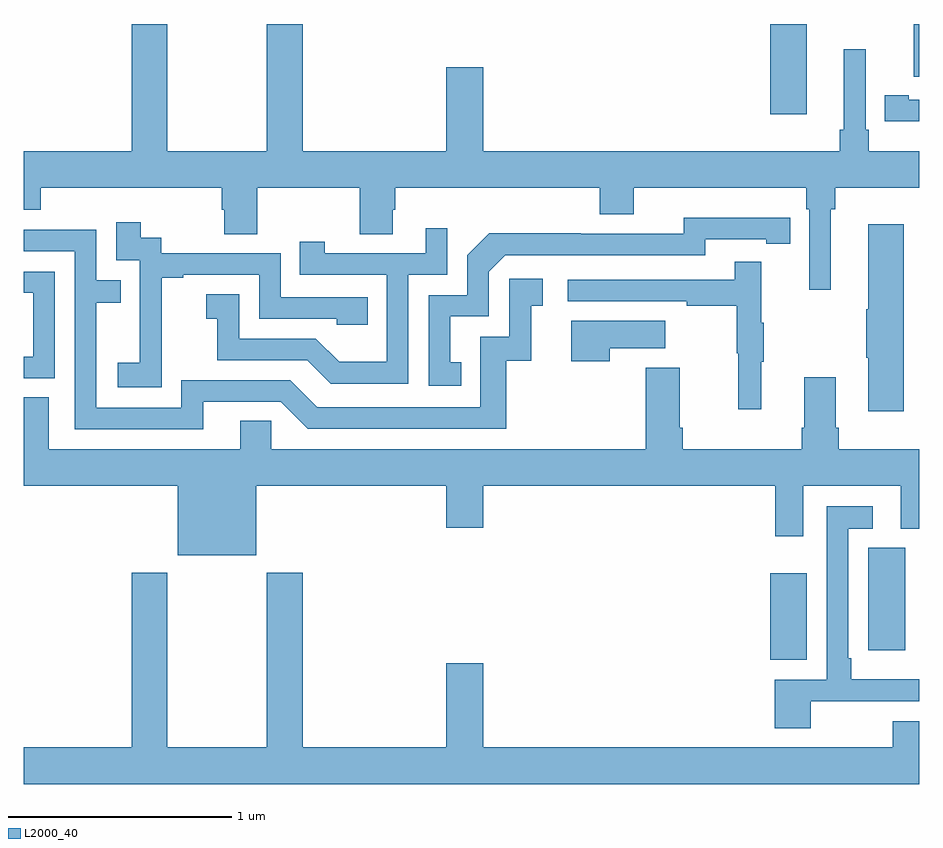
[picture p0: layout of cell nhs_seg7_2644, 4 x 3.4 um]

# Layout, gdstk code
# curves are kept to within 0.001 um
import gdstk
lib = gdstk.Library(unit=1e-6, precision=1e-09)
def R(c, l, rs):  # rectangles x0, y0, x1, y1
    for r in rs: c.add(gdstk.rectangle(r[:2], r[2:], *l))
def P(c, l, *ps):  # polygons
    for p in ps: c.add(gdstk.Polygon(p, *l))
L2000_40 = (2000, 40)

nhs_seg7_2644 = lib.new_cell('nhs_seg7_2644')
R(nhs_seg7_2644, L2000_40, [(286.334,1013.159,286.498,1013.545), (286.772,1013.202,286.939,1013.659), (286.334,1015.596,286.498,1016), (286.976,1015.764,287,1016)])
P(nhs_seg7_2644, L2000_40, [(286.606,1015.172),(286.625,1015.172),(286.625,1015.268),(287,1015.268),(287,1015.432),(286.775,1015.432),(286.775,1015.528),(286.761,1015.528),(286.761,1015.888),(286.664,1015.888),(286.664,1015.528),(286.645,1015.528),(286.645,1015.432),(285.052,1015.432),(285.052,1015.807),(284.888,1015.807),(284.888,1015.432),(284.246,1015.432),(284.246,1016),(284.086,1016),(284.086,1015.432),(283.641,1015.432),(283.641,1016),(283.481,1016),(283.481,1015.432),(283,1015.432),(283,1015.169),(283.076,1015.169),(283.076,1015.268),(283.883,1015.268),(283.883,1015.17),(283.895,1015.17),(283.895,1015.06),(284.043,1015.06),(284.043,1015.268),(284.5,1015.268),(284.5,1015.06),(284.647,1015.06),(284.647,1015.17),(284.66,1015.17),(284.66,1015.268),(285.572,1015.268),(285.572,1015.151),(285.724,1015.151),(285.724,1015.268),(286.496,1015.268),(286.496,1015.172),(286.509,1015.172),(286.509,1014.813),(286.606,1014.813)],
  [(287,1015.662),(286.954,1015.662),(286.954,1015.682),(286.846,1015.682),(286.846,1015.566),(286.954,1015.566),(286.954,1015.565),(287,1015.565)],
  [(284.954,1014.489),(284.905,1014.489),(284.905,1014.693),(285.078,1014.693),(285.078,1014.894),(285.15,1014.966),(286.044,1014.966),(286.044,1015.038),(286.316,1015.038),(286.316,1015.018),(286.424,1015.018),(286.424,1015.134),(285.948,1015.135),(285.948,1015.062),(285.488,1015.062),(285.488,1015.064),(285.08,1015.064),(284.982,1014.966),(284.982,1014.789),(284.808,1014.789),(284.808,1014.384),(284.954,1014.384)],
  [(283.617,1014.583),(283.616,1014.583),(283.616,1014.867),(283.711,1014.867),(283.711,1014.879),(284.052,1014.879),(284.052,1014.684),(284.397,1014.684),(284.397,1014.657),(284.537,1014.657),(284.537,1014.78),(284.148,1014.78),(284.148,1014.975),(283.614,1014.975),(283.614,1015.044),(283.522,1015.044),(283.522,1015.114),(283.413,1015.114),(283.413,1014.945),(283.518,1014.945),(283.518,1014.716),(283.517,1014.716),(283.517,1014.487),(283.419,1014.487),(283.419,1014.377),(283.617,1014.377)],
  [(286.931,1015.105),(286.772,1015.105),(286.772,1014.725),(286.765,1014.725),(286.765,1014.508),(286.772,1014.508),(286.772,1014.27),(286.931,1014.27)],
  [(284.718,1014.879),(284.892,1014.879),(284.892,1015.087),(284.795,1015.087),(284.795,1014.975),(284.344,1014.975),(284.344,1015.027),(284.233,1015.027),(284.233,1014.879),(284.622,1014.879),(284.622,1014.49),(284.408,1014.49),(284.304,1014.594),(283.962,1014.594),(283.962,1014.793),(283.815,1014.793),(283.815,1014.683),(283.864,1014.683),(283.864,1014.498),(284.267,1014.498),(284.372,1014.393),(284.718,1014.393)],
  [(283.801,1014.312),(284.148,1014.312),(284.268,1014.192),(285.155,1014.192),(285.155,1014.495),(285.266,1014.495),(285.266,1014.741),(285.319,1014.741),(285.319,1014.862),(285.168,1014.862),(285.168,1014.603),(285.039,1014.603),(285.039,1014.288),(284.31,1014.288),(284.19,1014.408),(283.704,1014.408),(283.704,1014.285),(283.323,1014.285),(283.323,1014.754),(283.433,1014.754),(283.433,1014.855),(283.323,1014.855),(283.323,1015.08),(283,1015.08),(283,1014.984),(283.227,1014.984),(283.227,1014.189),(283.801,1014.189)],
  [(286.295,1014.491),(286.306,1014.491),(286.306,1014.665),(286.295,1014.665),(286.295,1014.937),(286.177,1014.937),(286.177,1014.858),(285.429,1014.858),(285.429,1014.762),(285.961,1014.762),(285.961,1014.742),(286.185,1014.742),(286.185,1014.528),(286.192,1014.528),(286.192,1014.279),(286.295,1014.279)],
  [(283.137,1014.894),(283,1014.894),(283,1014.798),(283.041,1014.798),(283.041,1014.513),(283,1014.513),(283,1014.417),(283.137,1014.417)],
  [(285.617,1014.551),(285.865,1014.551),(285.865,1014.673),(285.446,1014.673),(285.446,1014.492),(285.617,1014.492)],
  [(284.038,1013.936),(284.888,1013.936),(284.888,1013.748),(285.052,1013.748),(285.052,1013.936),(286.358,1013.936),(286.358,1013.712),(286.483,1013.712),(286.483,1013.936),(286.919,1013.936),(286.919,1013.744),(287,1013.744),(287,1014.1),(286.64,1014.1),(286.64,1014.196),(286.627,1014.196),(286.627,1014.421),(286.487,1014.421),(286.487,1014.196),(286.475,1014.196),(286.475,1014.1),(285.944,1014.1),(285.944,1014.196),(285.931,1014.196),(285.931,1014.463),(285.779,1014.463),(285.779,1014.1),(284.106,1014.1),(284.106,1014.227),(283.967,1014.227),(283.967,1014.1),(283.111,1014.1),(283.111,1014.332),(283,1014.332),(283,1013.936),(283.688,1013.936),(283.688,1013.627),(284.038,1013.627)],
  [(286.515,1012.973),(286.78,1012.973),(286.78,1012.974),(287,1012.974),(287,1013.071),(286.696,1013.071),(286.696,1013.167),(286.683,1013.167),(286.683,1013.744),(286.792,1013.744),(286.792,1013.845),(286.587,1013.845),(286.587,1013.07),(286.355,1013.07),(286.355,1012.854),(286.515,1012.854)],
  [(287,1012.885),(286.882,1012.885),(286.882,1012.768),(285.052,1012.768),(285.052,1013.143),(284.888,1013.143),(284.888,1012.768),(284.246,1012.768),(284.246,1013.548),(284.086,1013.548),(284.086,1012.768),(283.641,1012.768),(283.641,1013.548),(283.481,1013.548),(283.481,1012.768),(283,1012.768),(283,1012.604),(287,1012.604)])

lib.write_gds('nhs_seg7_2644.gds')
